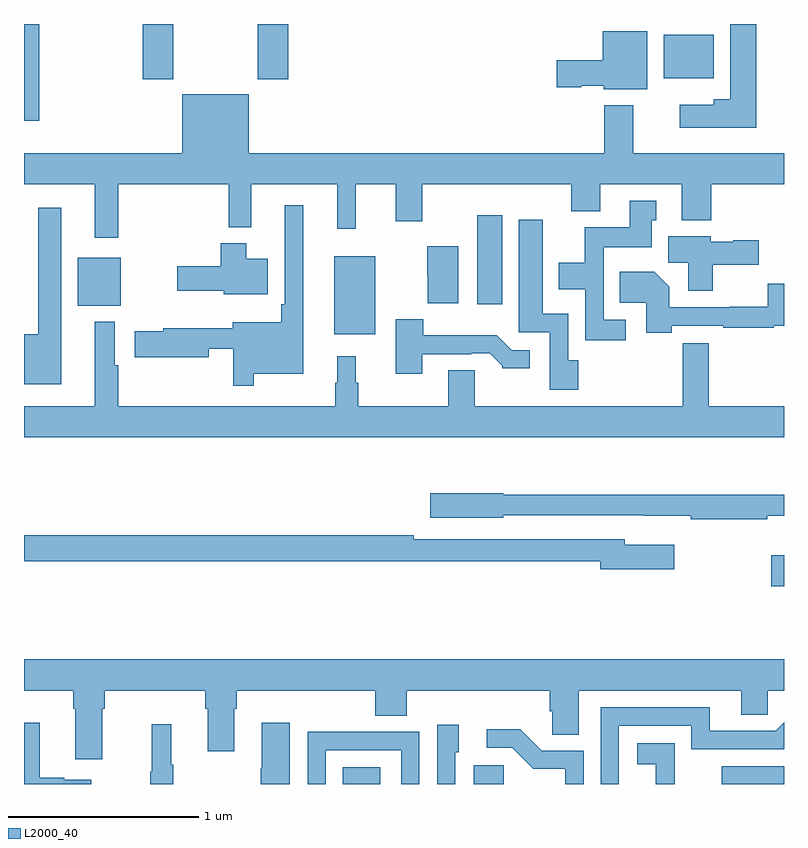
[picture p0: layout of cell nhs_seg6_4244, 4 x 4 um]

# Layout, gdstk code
import gdstk
lib = gdstk.Library(unit=1e-6, precision=1e-09)
def R(c, l, rs):  # rectangles x0, y0, x1, y1
    for r in rs: c.add(gdstk.rectangle(r[:2], r[2:], *l))
def P(c, l, *ps):  # polygons
    for p in ps: c.add(gdstk.Polygon(p, *l))
L2000_40 = (2000, 40)

nhs_seg6_4244 = lib.new_cell('nhs_seg6_4244')
R(nhs_seg6_4244, L2000_40, [(362.678,957.5,362.875,957.589), (363.368,957.5,363.525,957.598), (364.672,957.5,365,957.594), (364.932,958.54,365,958.705), (362.633,959.867,362.848,960.277), (361.283,960.017,361.51,960.271), (363.386,960.024,363.517,960.493), (361,960.99,361.079,961.5), (361.625,961.209,361.785,961.5), (362.23,961.209,362.39,961.5), (364.367,961.214,364.63,961.444)])
P(nhs_seg6_4244, L2000_40, [(364.853,961.5),(364.718,961.5),(364.718,961.105),(364.631,961.105),(364.631,961.075),(364.452,961.075),(364.452,960.953),(364.853,960.953)],
  [(364.279,961.462),(364.046,961.462),(364.046,961.31),(363.804,961.31),(363.804,961.168),(363.933,961.168),(363.933,961.175),(364.05,961.175),(364.05,961.157),(364.279,961.157)],
  [(361.495,960.656),(362.077,960.656),(362.077,960.431),(362.195,960.431),(362.195,960.656),(362.648,960.656),(362.648,960.423),(362.747,960.423),(362.747,960.656),(362.957,960.656),(362.957,960.462),(363.097,960.462),(363.097,960.656),(363.881,960.656),(363.881,960.515),(364.033,960.515),(364.033,960.656),(364.463,960.656),(364.463,960.467),(364.616,960.467),(364.616,960.656),(365,960.656),(365,960.82),(364.207,960.82),(364.207,961.072),(364.055,961.072),(364.055,960.82),(362.182,960.82),(362.182,961.129),(361.832,961.129),(361.832,960.82),(361,960.82),(361,960.656),(361.373,960.656),(361.373,960.375),(361.495,960.375)],
  [(364.168,959.943),(364.05,959.943),(364.05,960.326),(364.303,960.326),(364.303,960.468),(364.327,960.468),(364.327,960.571),(364.187,960.571),(364.187,960.43),(363.952,960.43),(363.952,960.244),(363.815,960.244),(363.815,960.104),(363.954,960.104),(363.954,959.835),(364.168,959.835)],
  [(362.209,959.66),(362.47,959.66),(362.47,960.547),(362.373,960.547),(362.373,960.025),(362.353,960.025),(362.353,959.929),(362.099,959.929),(362.099,959.9),(361.733,959.9),(361.733,959.882),(361.584,959.882),(361.584,959.747),(361.972,959.747),(361.972,959.79),(362.1,959.79),(362.1,959.595),(362.209,959.595)],
  [(361.195,960.532),(361.074,960.532),(361.074,959.866),(361,959.866),(361,959.603),(361.195,959.603)],
  [(363.917,959.73),(363.864,959.73),(363.864,959.974),(363.73,959.974),(363.73,960.469),(363.605,960.469),(363.605,959.877),(363.768,959.877),(363.768,959.574),(363.917,959.574)],
  [(364.626,960.233),(364.867,960.233),(364.867,960.363),(364.734,960.363),(364.734,960.355),(364.614,960.355),(364.614,960.382),(364.391,960.382),(364.391,960.244),(364.496,960.244),(364.496,960.096),(364.626,960.096)],
  [(362.284,960.265),(362.17,960.265),(362.17,960.346),(362.036,960.346),(362.036,960.225),(361.806,960.225),(361.806,960.095),(362.052,960.095),(362.052,960.077),(362.284,960.077)],
  [(363.286,960.331),(363.122,960.331),(363.122,960.177),(363.124,960.177),(363.124,960.029),(363.286,960.029)],
  [(364.408,959.913),(364.681,959.913),(364.681,959.901),(364.946,959.901),(364.946,959.913),(365,959.913),(365,960.133),(364.915,960.133),(364.915,960.012),(364.714,960.012),(364.714,960.009),(364.396,960.009),(364.396,960.118),(364.318,960.196),(364.135,960.196),(364.135,960.032),(364.274,960.032),(364.274,959.875),(364.408,959.875)],
  [(363.097,959.763),(363.353,959.763),(363.353,959.766),(363.452,959.766),(363.516,959.702),(363.516,959.687),(363.661,959.687),(363.661,959.784),(363.567,959.784),(363.489,959.863),(363.1,959.863),(363.1,959.947),(362.957,959.947),(362.957,959.658),(363.097,959.658)],
  [(365,959.488),(364.604,959.488),(364.604,959.821),(364.468,959.821),(364.468,959.488),(363.373,959.488),(363.373,959.678),(363.233,959.678),(363.233,959.488),(362.758,959.488),(362.758,959.612),(362.747,959.612),(362.747,959.752),(362.648,959.752),(362.648,959.612),(362.637,959.612),(362.637,959.488),(361.495,959.488),(361.495,959.705),(361.477,959.705),(361.477,959.932),(361.373,959.932),(361.373,959.488),(361,959.488),(361,959.324),(365,959.324)],
  [(364.911,958.913),(365,958.913),(365,959.023),(363.522,959.023),(363.522,959.031),(363.138,959.031),(363.138,958.901),(363.522,958.901),(363.522,958.914),(364.258,958.914),(364.258,958.913),(364.51,958.913),(364.51,958.894),(364.911,958.894)],
  [(364.423,958.759),(364.162,958.759),(364.162,958.788),(363.05,958.788),(363.05,958.808),(361,958.808),(361,958.672),(364.034,958.672),(364.034,958.63),(364.423,958.63)],
  [(361,957.992),(361.259,957.992),(361.259,957.896),(361.271,957.896),(361.271,957.63),(361.411,957.63),(361.411,957.896),(361.424,957.896),(361.424,957.992),(361.955,957.992),(361.955,957.896),(361.967,957.896),(361.967,957.672),(362.107,957.672),(362.107,957.896),(362.12,957.896),(362.12,957.992),(362.849,957.992),(362.849,957.859),(363.014,957.859),(363.014,957.992),(363.767,957.992),(363.767,957.883),(363.78,957.883),(363.78,957.76),(363.919,957.76),(363.919,957.992),(364.775,957.992),(364.775,957.865),(364.914,957.865),(364.914,957.992),(365,957.992),(365,958.156),(361,958.156)],
  [(364.131,957.807),(364.512,957.807),(364.512,957.684),(364.998,957.684),(365,957.686),(365,957.824),(364.956,957.78),(364.609,957.78),(364.609,957.903),(364.035,957.903),(364.035,957.5),(364.131,957.5)],
  [(362.398,957.823),(362.252,957.823),(362.252,957.584),(362.245,957.584),(362.245,957.5),(362.398,957.5)],
  [(361.354,957.523),(361.211,957.523),(361.211,957.533),(361.084,957.533),(361.084,957.823),(361,957.823),(361,957.5),(361.354,957.5)],
  [(361.786,957.601),(361.775,957.601),(361.775,957.814),(361.672,957.814),(361.672,957.564),(361.665,957.564),(361.665,957.5),(361.786,957.5)],
  [(363.27,957.666),(363.289,957.666),(363.289,957.811),(363.174,957.811),(363.174,957.5),(363.27,957.5)],
  [(363.945,957.675),(363.726,957.675),(363.613,957.788),(363.435,957.788),(363.435,957.69),(363.569,957.69),(363.68,957.579),(363.849,957.579),(363.849,957.5),(363.945,957.5)],
  [(362.589,957.678),(362.985,957.678),(362.985,957.5),(363.081,957.5),(363.081,957.774),(362.765,957.774),(362.765,957.776),(362.493,957.776),(362.493,957.5),(362.589,957.5)],
  [(364.424,957.509),(364.425,957.509),(364.425,957.715),(364.227,957.715),(364.227,957.605),(364.325,957.605),(364.325,957.5),(364.424,957.5)])

lib.write_gds('nhs_seg6_4244.gds')
